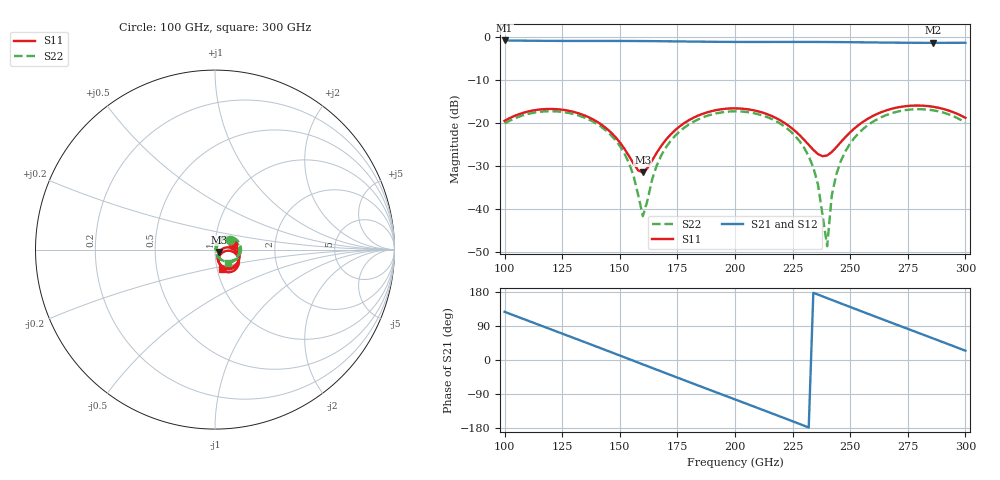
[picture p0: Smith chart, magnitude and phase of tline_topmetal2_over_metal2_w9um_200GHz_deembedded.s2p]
! Created with skrf 2.0.1 (http://scikit-rf.org).
# GHz S DB R 50.0
!freq dBS11 angS11 dBS21 angS21 dBS12 angS12 dBS22 angS22
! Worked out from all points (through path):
!   101 points, 100 GHz to 300 GHz, reference 50 ohm
!   highest |S21| = -0.82 dB at 100 GHz (marker M1); lowest = -1.4 dB at 286 GHz (marker M2)
!   group delay of S21, straight-line fit = 6.43 ps
!   lowest |S11| = -31.5 dB at 160 GHz (marker M3), VSWR 1.05, Z = 52.4 - j1.31 ohm
!   |S11| at or under -10 dB: start of sweep to end of sweep
!   |S22| runs from -48.6 to -16.8 dB; largest |S21 - S12| = 1e-13
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100  -19.51 13.2  -0.82 127.1  -0.82 127.1  -20.13 34.2
116  -16.82 -18.5  -0.91 90.3  -0.91 90.3  -17.37 3.4
134  -18.10 -54.1  -0.93 49.0  -0.93 49.0  -18.61 -32.6
144  -21.18 -70.3  -0.93 25.8  -0.93 25.8  -21.75 -51.9
152  -25.98 -73.5  -0.94 7.1  -0.94 7.1  -27.08 -64.0
156  -29.50 -61.7  -0.95 -2.2  -0.95 -2.2  -32.37 -63.4
160  -31.48 -27.8  -0.96 -11.5  -0.96 -11.5  -41.67 -10.2
168  -25.32 10.3  -1.00 -30.2  -1.00 -30.2  -27.53 59.7
180  -19.35 -0.0  -1.07 -58.0  -1.07 -58.0  -20.34 40.2
200  -16.60 -35.6  -1.16 -104.0  -1.16 -104.0  -17.29 -0.9
222  -20.16 -70.4  -1.16 -154.7  -1.16 -154.7  -21.02 -47.8
230  -23.90 -71.6  -1.16 -173.4  -1.16 -173.4  -25.76 -64.5
234  -26.25 -62.6  -1.17 177.3  -1.17 177.3  -30.35 -71.8
236  -27.22 -53.7  -1.17 172.6  -1.17 172.6  -34.22 -74.0
240  -27.54 -30.0  -1.18 163.3  -1.18 163.3  -48.63 55.2
242  -26.75 -19.6  -1.19 158.6  -1.19 158.6  -36.84 77.7
244  -25.62 -12.2  -1.19 153.9  -1.19 153.9  -31.87 76.9
248  -23.23 -5.3  -1.21 144.6  -1.21 144.6  -26.51 70.2
256  -19.57 -7.9  -1.26 125.9  -1.26 125.9  -21.21 53.4
268  -16.70 -24.4  -1.33 98.2  -1.33 98.2  -17.73 27.0
286  -16.24 -53.5  -1.37 56.9  -1.37 56.9  -17.06 -13.4
300  -18.80 -71.1  -1.36 24.5  -1.36 24.5  -19.95 -46.1
